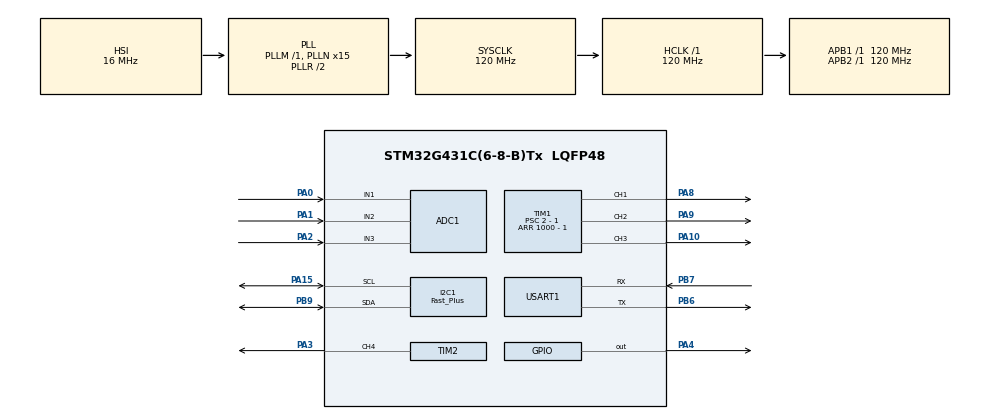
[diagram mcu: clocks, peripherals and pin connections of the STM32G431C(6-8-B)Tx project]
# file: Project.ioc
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ADC1.Channel-0\#ChannelRegularConversion=ADC_CHANNEL_1
ADC1.Channel-1\#ChannelRegularConversion=ADC_CHANNEL_2
ADC1.Channel-2\#ChannelRegularConversion=ADC_CHANNEL_3
ADC1.ClockPrescaler=ADC_CLOCK_SYNC_PCLK_DIV2
ADC1.DMAContinuousRequests=ENABLE
ADC1.EOCSelection=ADC_EOC_SINGLE_CONV
ADC1.ExternalTrigConv=ADC_EXTERNALTRIG_T1_TRGO
ADC1.NbrOfConversion=3
ADC1.NbrOfConversionFlag=1
ADC1.OffsetNumber-0\#ChannelRegularConversion=ADC_OFFSET_NONE
ADC1.OffsetNumber-1\#ChannelRegularConversion=ADC_OFFSET_NONE
ADC1.OffsetNumber-2\#ChannelRegularConversion=ADC_OFFSET_NONE
ADC1.Rank-0\#ChannelRegularConversion=1
ADC1.Rank-1\#ChannelRegularConversion=2
ADC1.Rank-2\#ChannelRegularConversion=3
ADC1.SamplingTime-0\#ChannelRegularConversion=ADC_SAMPLETIME_2CYCLES_5
ADC1.SamplingTime-1\#ChannelRegularConversion=ADC_SAMPLETIME_2CYCLES_5
ADC1.SamplingTime-2\#ChannelRegularConversion=ADC_SAMPLETIME_2CYCLES_5
ADC1.master=1
Dma.ADC1.1.Direction=DMA_PERIPH_TO_MEMORY
Dma.ADC1.1.EventEnable=DISABLE
Dma.ADC1.1.Instance=DMA1_Channel2
Dma.ADC1.1.MemDataAlignment=DMA_MDATAALIGN_WORD
Dma.ADC1.1.MemInc=DMA_MINC_ENABLE
Dma.ADC1.1.Mode=DMA_CIRCULAR
Dma.ADC1.1.PeriphDataAlignment=DMA_PDATAALIGN_WORD
Dma.ADC1.1.PeriphInc=DMA_PINC_DISABLE
Dma.ADC1.1.Polarity=HAL_DMAMUX_REQ_GEN_RISING
Dma.ADC1.1.Priority=DMA_PRIORITY_HIGH
Dma.ADC1.1.RequestNumber=1
Dma.ADC1.1.SignalID=NONE
Dma.ADC1.1.SyncEnable=DISABLE
Dma.ADC1.1.SyncPolarity=HAL_DMAMUX_SYNC_NO_EVENT
Dma.ADC1.1.SyncRequestNumber=1
Dma.ADC1.1.SyncSignalID=NONE
Dma.Request0=USART1_RX
Dma.Request1=ADC1
Dma.Request2=USART1_TX
Dma.USART1_RX.0.Direction=DMA_PERIPH_TO_MEMORY
Dma.USART1_RX.0.EventEnable=DISABLE
Dma.USART1_RX.0.Instance=DMA1_Channel1
Dma.USART1_RX.0.MemDataAlignment=DMA_MDATAALIGN_BYTE
Dma.USART1_RX.0.MemInc=DMA_MINC_ENABLE
Dma.USART1_RX.0.Mode=DMA_CIRCULAR
Dma.USART1_RX.0.PeriphDataAlignment=DMA_PDATAALIGN_BYTE
Dma.USART1_RX.0.PeriphInc=DMA_PINC_DISABLE
Dma.USART1_RX.0.Polarity=HAL_DMAMUX_REQ_GEN_RISING
Dma.USART1_RX.0.Priority=DMA_PRIORITY_MEDIUM
Dma.USART1_RX.0.RequestNumber=1
Dma.USART1_RX.0.SignalID=NONE
Dma.USART1_RX.0.SyncEnable=DISABLE
Dma.USART1_RX.0.SyncPolarity=HAL_DMAMUX_SYNC_NO_EVENT
Dma.USART1_RX.0.SyncRequestNumber=1
Dma.USART1_RX.0.SyncSignalID=NONE
Dma.USART1_TX.2.Direction=DMA_MEMORY_TO_PERIPH
Dma.USART1_TX.2.EventEnable=DISABLE
Dma.USART1_TX.2.Instance=DMA1_Channel3
Dma.USART1_TX.2.MemDataAlignment=DMA_MDATAALIGN_BYTE
Dma.USART1_TX.2.MemInc=DMA_MINC_ENABLE
Dma.USART1_TX.2.Mode=DMA_CIRCULAR
Dma.USART1_TX.2.PeriphDataAlignment=DMA_PDATAALIGN_BYTE
Dma.USART1_TX.2.PeriphInc=DMA_PINC_DISABLE
Dma.USART1_TX.2.Polarity=HAL_DMAMUX_REQ_GEN_RISING
Dma.USART1_TX.2.Priority=DMA_PRIORITY_MEDIUM
Dma.USART1_TX.2.RequestNumber=1
Dma.USART1_TX.2.SignalID=NONE
Dma.USART1_TX.2.SyncEnable=DISABLE
Dma.USART1_TX.2.SyncPolarity=HAL_DMAMUX_SYNC_NO_EVENT
Dma.USART1_TX.2.SyncRequestNumber=1
Dma.USART1_TX.2.SyncSignalID=NONE
I2C1.I2C_Speed_Mode=I2C_Fast_Plus
I2C1.Timing=0x10820B1B
Mcu.Family=STM32G4
Mcu.Name=STM32G431C(6-8-B)Tx
Mcu.Package=LQFP48
NVIC.DMA1_Channel1_IRQn=true\:1\:1\:true\:false\:true\:false\:true\:true
NVIC.DMA1_Channel2_IRQn=true\:1\:1\:true\:false\:true\:false\:true\:true
NVIC.DMA1_Channel3_IRQn=true\:0\:0\:false\:false\:true\:false\:true\:true
NVIC.PriorityGroup=NVIC_PRIORITYGROUP_2
NVIC.TIM3_IRQn=true\:0\:0\:false\:false\:true\:true\:true\:true
NVIC.USART1_IRQn=true\:2\:2\:true\:false\:true\:true\:true\:true
PA0.Mode=IN1-Single-Ended
PA0.Signal=ADC1_IN1
PA1.Mode=IN2-Single-Ended
PA1.Signal=ADC1_IN2
PA10.Signal=S_TIM1_CH3
PA13.Mode=Serial_Wire
PA13.Signal=SYS_JTMS-SWDIO
PA14.Mode=Serial_Wire
PA14.Signal=SYS_JTCK-SWCLK
PA15.Mode=I2C
PA15.Signal=I2C1_SCL
PA2.Mode=IN3-Single-Ended
PA2.Signal=ADC1_IN3
PA3.Signal=S_TIM2_CH4
PA4.Signal=GPIO_Output
PA8.Signal=S_TIM1_CH1
PA9.Signal=S_TIM1_CH2
PB6.Mode=Asynchronous
PB6.Signal=USART1_TX
PB7.Mode=Asynchronous
PB7.Signal=USART1_RX
PB9.Mode=I2C
PB9.Signal=I2C1_SDA
ProjectManager.HeapSize=0x200
ProjectManager.StackSize=0x400
ProjectManager.TargetToolchain=MDK-ARM V5.32
RCC.ADC12Freq_Value=120000000
RCC.AHBFreq_Value=120000000
RCC.APB1Freq_Value=120000000
RCC.APB1TimFreq_Value=120000000
RCC.APB2Freq_Value=120000000
RCC.APB2TimFreq_Value=120000000
RCC.CortexFreq_Value=120000000
RCC.EXTERNAL_CLOCK_VALUE=12288000
RCC.HCLKFreq_Value=120000000
RCC.HSE_VALUE=8000000
RCC.HSI48_VALUE=48000000
RCC.HSI_VALUE=16000000
RCC.LSE_VALUE=32768
RCC.PLLN=15
RCC.SYSCLKFreq_VALUE=120000000
RCC.SYSCLKSource=RCC_SYSCLKSOURCE_PLLCLK
RCC.USBFreq_Value=120000000
RCC.VCOOutputFreq_Value=240000000
SH.S_TIM1_CH1.0=TIM1_CH1,PWM Generation1 CH1
SH.S_TIM1_CH2.0=TIM1_CH2,PWM Generation2 CH2
SH.S_TIM1_CH3.0=TIM1_CH3,PWM Generation3 CH3
SH.S_TIM2_CH4.0=TIM2_CH4,PWM Generation4 CH4
TIM1.Channel-PWM\ Generation1\ CH1=TIM_CHANNEL_1
TIM1.Channel-PWM\ Generation2\ CH2=TIM_CHANNEL_2
TIM1.Channel-PWM\ Generation3\ CH3=TIM_CHANNEL_3
TIM1.CounterMode=TIM_COUNTERMODE_CENTERALIGNED1
TIM1.PeriodNoDither=1000 - 1
TIM1.Prescaler=2 - 1
TIM1.TIM_MasterOutputTrigger=TIM_TRGO_UPDATE
TIM1.TIM_MasterSlaveMode=TIM_MASTERSLAVEMODE_DISABLE
TIM2.Channel-PWM\ Generation4\ CH4=TIM_CHANNEL_4
TIM2.PeriodNoDither=1000 - 1
TIM2.Prescaler=120 - 1
TIM3.PeriodNoDither=200 - 1
TIM3.Prescaler=120 - 1
USART1.VirtualMode-Asynchronous=VM_ASYNC
VP_CORDIC_VS_CORDIC.Mode=CORDIC_Activate
VP_SYS_VS_DBSignals.Mode=DisableDeadBatterySignals
VP_TIM1_VS_ClockSourceINT.Mode=Internal
VP_TIM2_VS_ClockSourceINT.Mode=Internal
VP_TIM3_VS_ClockSourceINT.Mode=Internal
board=custom

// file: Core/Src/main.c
/* USER CODE BEGIN Header */
/**
  ******************************************************************************
  * @file           : main.c
  * @brief          : Main program body
  速度测量和滤波
  ******************************************************************************
  * @attention
  *
  * Copyright (c) 2026 STMicroelectronics.
  * All rights reserved.
  *
  * This software is licensed under terms that can be found in the LICENSE file
  * in the root directory of this software component.
  * If no LICENSE file comes with this software, it is provided AS-IS.
  *
  ******************************************************************************
  */
/* USER CODE END Header */
#include "main.h"
#include "adc.h"
#include "cordic.h"
#include "dma.h"
#include "i2c.h"
#include "tim.h"
#include "usart.h"
#include "gpio.h"

/* USER CODE BEGIN Includes */
#include <math.h>
#include "Driver.h"
#include "Encoder.h"
#include "Serial.h"
#include "PID.h"
#include "Beep.h"
#include "CurrentMeasure.h"
#include "Filter.h"
#include "QuickCalc.h"

/* USER CODE END Includes */

void SystemClock_Config(void);

/* USER CODE BEGIN 0 */
MAF filter_speed;  // 速度滤波器
PID pid_I_d, pid_I_q;  // 电流环
PID pid_speed;  // 速度环
float Kp = 6.0f, Ki = 0.0f, Kd = 0.0f, maxI = 6.0f, maxOut = 6.0f;
volatile float speed = 0.0f;  // 测速变量
float speed_actual;  // 滤波后速度
float *rightangledCurrent, I_d_actual, I_q_actual;
static float I_d_desire = 0.0f, I_q_desire = 0.0f;
static float speed_desire = 0.0f;
uint8_t N = 1;  // 滑动平均滤波器点数

uint8_t led_state = 0;
// 电流从0.5A映射到电压的12V，所以Kp应该在24左右

/* USER CODE END 0 */

int main(void)
{

  /* MCU Configuration--------------------------------------------------------*/

  /* Reset of all peripherals, Initializes the Flash interface and the Systick. */
  HAL_Init();

  /* Configure the system clock */
  SystemClock_Config();

  /* Initialize all configured peripherals */
  MX_GPIO_Init();
  MX_DMA_Init();
  MX_TIM1_Init();
  MX_I2C1_Init();
  MX_USART1_UART_Init();
  MX_TIM2_Init();
  MX_ADC1_Init();
  MX_TIM3_Init();
  MX_CORDIC_Init();
  /* USER CODE BEGIN 2 */
  Filter_MAF_Init(&filter_speed, N);

  Serial_Init();   // 初始化串口
  Driver_Init();
  Encoder_Init();  // 对轴操作
  CurrentMeasure_Init();
//  QuickCalc_Init();  // CORDIC模块初始化，加速三角函数计算

  PID_Init(&pid_I_d, Kp, Ki, Kd, maxI, maxOut);
  PID_Init(&pid_I_q, Kp, Ki, Kd, maxI, maxOut);
  PID_Init(&pid_speed, 0.01f, 0.001f, 0.0f, 0.5f, 0.5f);
  HAL_TIM_Base_Start_IT(&htim3);
  /* USER CODE END 2 */

  /* Infinite loop */
  /* USER CODE BEGIN WHILE */
  while (1)
  {
// ========== 上位机发送speed指令
		// 这里注意使用static变量
		static float data;
		static char type;
		VOFA_GetData(&data, &type);
		if (type == 's') {
			speed_desire = data;
		}

/****************************/
//// 上位机发送dq指令
//	static float data;
//	static char type;
//	VOFA_GetData(&data, &type);
//	if (type == 'd') {
//		I_d_desire = data;
//	}
//	else if (type == 'q') {
//		I_q_desire = data;
//	}
//
//	// 获得dq轴电流
//	rightangledCurrent = CurrentMeasure_GetRightangledCurrent();
//	I_d_actual = rightangledCurrent[0];
//	I_q_actual = rightangledCurrent[1];
//	// 获得abc三相电流
////	phaseCurrent = CurrentMeasure_GetPhaseCurrent();
//
//	// 电流环
//	PID_inc_Calc(&pid_I_d, I_d_desire, rightangledCurrent[0]);
//	PID_inc_Calc(&pid_I_q, I_q_desire, rightangledCurrent[1]);
//	float e_angle = Encoder_GetAngleNoTrack() * 7;
//	Driver_SetRightangledVoltage(pid_I_d.output, pid_I_q.output, e_angle);
//
//	// 串口发送四个电流（把这句注释好像可以达到意想不到的效果）
//	VOFA_SendData(I_d_desire, rightangledCurrent[0], I_q_desire, rightangledCurrent[1]);
/****************************/
    /* USER CODE END WHILE */

  }
}

void SystemClock_Config(void)
{
  RCC_OscInitTypeDef RCC_OscInitStruct = {0};
  RCC_ClkInitTypeDef RCC_ClkInitStruct = {0};

  /** Configure the main internal regulator output voltage
  */
  HAL_PWREx_ControlVoltageScaling(PWR_REGULATOR_VOLTAGE_SCALE1);

  /** Initializes the RCC Oscillators according to the specified parameters
  * in the RCC_OscInitTypeDef structure.
  */
  RCC_OscInitStruct.OscillatorType = RCC_OSCILLATORTYPE_HSI;
  RCC_OscInitStruct.HSIState = RCC_HSI_ON;
  RCC_OscInitStruct.HSICalibrationValue = RCC_HSICALIBRATION_DEFAULT;
  RCC_OscInitStruct.PLL.PLLState = RCC_PLL_ON;
  RCC_OscInitStruct.PLL.PLLSource = RCC_PLLSOURCE_HSI;
  RCC_OscInitStruct.PLL.PLLM = RCC_PLLM_DIV1;
  RCC_OscInitStruct.PLL.PLLN = 15;
  RCC_OscInitStruct.PLL.PLLP = RCC_PLLP_DIV2;
  RCC_OscInitStruct.PLL.PLLQ = RCC_PLLQ_DIV2;
  RCC_OscInitStruct.PLL.PLLR = RCC_PLLR_DIV2;
  if (HAL_RCC_OscConfig(&RCC_OscInitStruct) != HAL_OK)
  {
    Error_Handler();
  }

  /** Initializes the CPU, AHB and APB buses clocks
  */
  RCC_ClkInitStruct.ClockType = RCC_CLOCKTYPE_HCLK|RCC_CLOCKTYPE_SYSCLK
                              |RCC_CLOCKTYPE_PCLK1|RCC_CLOCKTYPE_PCLK2;
  RCC_ClkInitStruct.SYSCLKSource = RCC_SYSCLKSOURCE_PLLCLK;
  RCC_ClkInitStruct.AHBCLKDivider = RCC_SYSCLK_DIV1;
  RCC_ClkInitStruct.APB1CLKDivider = RCC_HCLK_DIV1;
  RCC_ClkInitStruct.APB2CLKDivider = RCC_HCLK_DIV1;

  if (HAL_RCC_ClockConfig(&RCC_ClkInitStruct, FLASH_LATENCY_3) != HAL_OK)
  {
    Error_Handler();
  }
}

/* USER CODE BEGIN 4 */
void HAL_TIM_PeriodElapsedCallback(TIM_HandleTypeDef *htim) {
	static uint8_t cnt_velocityLoop = 0;
	if (htim == &htim3) {  // TIM3定时中断，5kHz
		if (cnt_velocityLoop == 5) {  // 速度测量1kHz
			cnt_velocityLoop = 0;
			speed = Encoder_GetVelocity(1000);
// ========== 测速和滤波
			speed_actual = Filter_MAF_Update(&filter_speed, speed);
// ========== 速度环输出给电流环
			PID_pos_Calc(&pid_speed, speed_desire, speed_actual);  // 这里适合使用位置式PID，因为力矩和速度具有积分关系
			I_q_desire = pid_speed.output;  // 更新到Iq
//// ========== 向VOFA发送
//			VOFA_SendData_DMA(speed, 0.0, 0.0, 0.0);
		}
		{  // 电流环
// ========== AD采样
			rightangledCurrent = CurrentMeasure_GetRightangledCurrent();
			I_d_actual = rightangledCurrent[0];
			I_q_actual = rightangledCurrent[1];

// ========== 电流环PID
			PID_inc_Calc(&pid_I_d, I_d_desire, I_d_actual);
			PID_inc_Calc(&pid_I_q, I_q_desire, I_q_actual);
			Driver_SetRightangledVoltage(pid_I_d.output, pid_I_q.output, Encoder_GetAngleNoTrack() * 7);
		}
			// 调试开始
			HAL_GPIO_WritePin(GPIOA, GPIO_PIN_4, led_state);
			led_state = !led_state;
			// 调试结束

		cnt_velocityLoop++;
	}
}

/* USER CODE END 4 */

void Error_Handler(void)
{
  __disable_irq();
  while (1)
  {
  }
}
